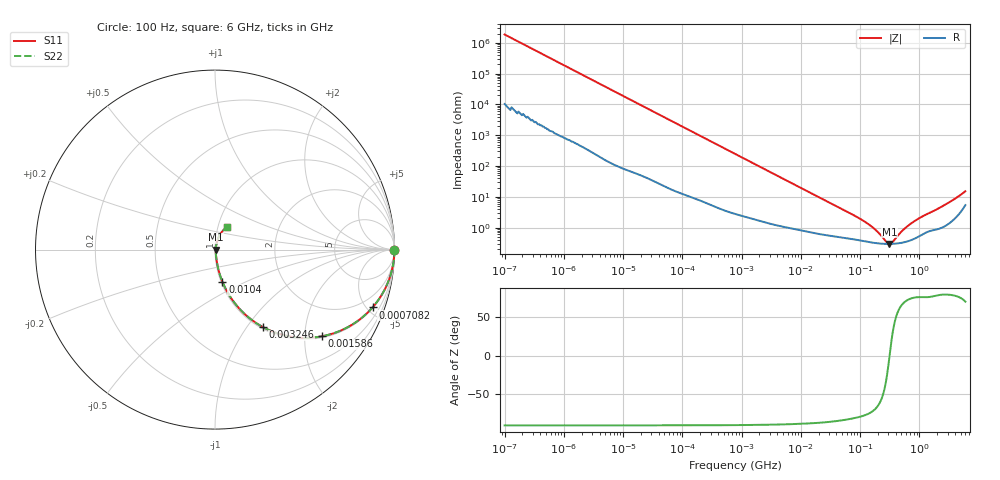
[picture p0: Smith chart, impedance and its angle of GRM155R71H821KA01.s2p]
!Murata Part Number: GRM155R71H821KA01
!These Parameters are Measured in Series Mode Connection
!Data Generated on Mar 30, 2021
!  o--ll--o
!Port1  Port2
!  o------o
!Operation Temp=25[degC], DC Bias Voltage=0[V]
!Freq. Start=100[Hz] Stop=6[GHz] 401[Steps]
# Hz S RI R 50
!Freq.(Hz) S11(Real) S11(Imag) S21(Real) S21(Imag) S12(Real) S12(Imag) S22(Real) S22(Imag)
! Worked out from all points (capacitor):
!   401 points, 100 Hz to 6 GHz, reference 50 ohm
!   read as one part in series: C = 852 pF near 109 Hz
!   lowest |Z| = 297 mohm at 312.4 MHz (marker M1)
!   series resonance near 315.2 MHz, so ESL is about 300 pH
!   S11 on the Smith chart (normalised r, x): 100 Hz: open; 708.2 kHz: 1.06, -5.42; 1.586 MHz: 1.04, -2.43; 3.246 MHz: 1.03, -1.20; 10.4 MHz: 1.02, -0.38; 6 GHz: 1.11, +0.28
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100  1 -5.36e-05  3e-07 5.36e-05  3e-07 5.36e-05  1 -5.36e-05
196  1 -0.000105  5e-07 0.000105  5e-07 0.000105  1 -0.000105
2008  1 -0.00107  6e-06 0.00107  6e-06 0.00107  1 -0.00107
40335  0.9994 -0.0212  0.000572 0.0212  0.000572 0.0212  0.9994 -0.0212
211427  0.987 -0.1092  0.013 0.1092  0.013 0.1092  0.987 -0.1092
432798  0.9497 -0.2141  0.0503 0.2141  0.0503 0.2141  0.9497 -0.2141
708247  0.8776 -0.3224  0.1224 0.3224  0.1224 0.3224  0.8776 -0.3224
774597  0.8574 -0.3441  0.1426 0.3441  0.1426 0.3441  0.8574 -0.3441
1585629  0.5956 -0.4831  0.4044 0.4831  0.4044 0.4831  0.5956 -0.4831
3245845  0.2679 -0.4322  0.7321 0.4322  0.7321 0.4322  0.2679 -0.4322
5554849  0.1169 -0.307  0.8831 0.307  0.8831 0.307  0.1169 -0.307
1.039699e7  0.0417 -0.1798  0.9583 0.1798  0.9583 0.1798  0.0417 -0.1798
1.555665e7  0.0224 -0.1234  0.9776 0.1234  0.9776 0.1234  0.0224 -0.1234
1.166697e8  0.00386 -0.0156  0.9961 0.0156  0.9961 0.0156  0.00386 -0.0156
1.745687e8  0.00326 -0.00856  0.9967 0.00856  0.9967 0.00856  0.00326 -0.00856
2.731619e8  0.00297 -0.00199  0.997 0.00199  0.997 0.00199  0.00297 -0.00199
3.124326e8  0.00296 -0.000118  0.997 0.000118  0.997 0.000118  0.00296 -0.000118
3.573489e8  0.00298 0.00176  0.997 -0.00176  0.997 -0.00176  0.00298 0.00176
5.346885e8  0.00335 0.00772  0.9967 -0.00772  0.9967 -0.00772  0.00335 0.00772
8.000355e8  0.00444 0.0148  0.9956 -0.0148  0.9956 -0.0148  0.00444 0.0148
2.562649e9  0.0129 0.0496  0.9871 -0.0496  0.9871 -0.0496  0.0129 0.0496
6e9  0.0683 0.1257  0.9317 -0.1257  0.9317 -0.1257  0.0683 0.1257
